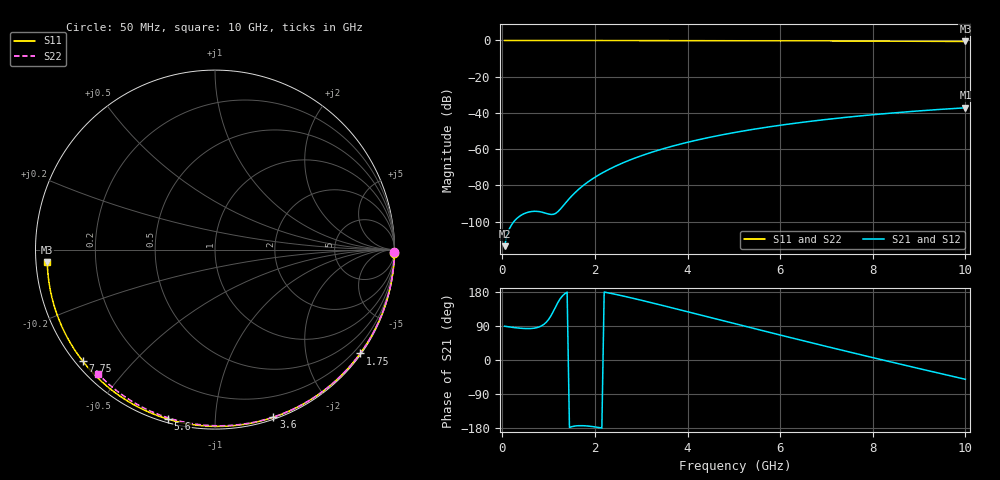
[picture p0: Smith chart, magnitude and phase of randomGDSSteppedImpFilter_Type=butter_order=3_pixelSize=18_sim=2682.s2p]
! freq	dB(S11)	phase(S11)	dB(S12)	phase(S12)
!  dB(S21)	phase(S21)	dB(S22)	phase(S22)
!S-par simulation data
#  GHz  S  DB  R 50
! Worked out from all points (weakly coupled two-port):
!   200 points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, 50 MHz to 10 GHz, reference 50 ohm
!   highest |S21| = -37.19 dB at 10 GHz (marker M1); lowest = -113.6 dB at 50 MHz (marker M2)
!   lowest |S11| = -0.6 dB at 10 GHz (marker M3), VSWR 30.78, Z = 1.63 - j1.84 ohm
!   |S11| at or under -10 dB: nowhere
!   |S22| runs from -0.4 to 0.0 dB; largest |S21 - S12| = 0
!   S11 on the Smith chart (normalised r, x): 50 MHz: open; 1.75 GHz: 0.03, -3.12; 3.6 GHz: 0.02, -1.41; 5.6 GHz: 0.02, -0.76; 7.75 GHz: 0.02, -0.37; 10 GHz: 0.03, -0.04
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0.05  -0.00 -1.0  -113.60 89.1  -113.60 89.1  -0.00 -0.8
0.45  -0.01 -9.3  -95.90 83.3  -95.90 83.3  -0.01 -6.9
0.85  -0.02 -17.5  -94.77 90.3  -94.77 90.3  -0.02 -13.0
1.3  -0.03 -26.6  -91.73 169.3  -91.73 169.3  -0.02 -19.8
1.75  -0.05 -35.6  -80.06 -173.4  -80.06 -173.4  -0.03 -26.6
1.95  -0.05 -39.5  -76.38 -175.7  -76.38 -175.7  -0.04 -29.5
2.1  -0.05 -42.5  -74.01 -178.5  -74.01 -178.5  -0.04 -31.7
2.45  -0.06 -49.2  -69.36 173.2  -69.36 173.2  -0.05 -36.9
2.65  -0.07 -53.1  -67.11 167.8  -67.11 167.8  -0.05 -39.8
2.9  -0.07 -57.8  -64.60 160.6  -64.60 160.6  -0.06 -43.4
3.4  -0.09 -67.1  -60.36 145.8  -60.36 145.8  -0.07 -50.5
3.6  -0.09 -70.8  -58.89 139.7  -58.89 139.7  -0.07 -53.4
4.3  -0.12 -83.3  -54.47 118.2  -54.47 118.2  -0.09 -63.1
5.05  -0.15 -96.2  -50.67 95.0  -50.67 95.0  -0.11 -73.1
5.6  -0.17 -105.4  -48.34 78.1  -48.34 78.1  -0.13 -80.3
6.15  -0.20 -114.4  -46.30 61.3  -46.30 61.3  -0.15 -87.4
6.7  -0.24 -123.3  -44.50 44.7  -44.50 44.7  -0.18 -94.3
7.25  -0.28 -132.0  -42.91 28.3  -42.91 28.3  -0.21 -101.0
7.75  -0.32 -139.8  -41.61 13.6  -41.61 13.6  -0.24 -107.1
8.35  -0.38 -149.3  -40.22 -3.9  -40.22 -3.9  -0.29 -114.2
9.2  -0.47 -162.8  -38.53 -28.3  -38.53 -28.3  -0.36 -124.1
10  -0.56 -175.8  -37.19 -50.9  -37.19 -50.9  -0.45 -133.3
